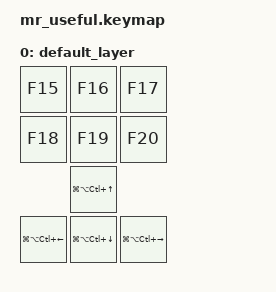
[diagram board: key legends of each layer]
#include <behaviors.dtsi>
#include <dt-bindings/zmk/keys.h>

// Hyper + Direction Aliases
#define H_U LG(LA(LC(UP)))
#define H_D LG(LA(LC(DOWN)))
#define H_L LG(LA(LC(LEFT)))
#define H_R LG(LA(LC(RIGHT)))

/ {
    keymap {
        compatible = "zmk,keymap";

        default_layer {
            bindings = <
                &kp F15   &kp F16   &kp F17
                &kp F18   &kp F19   &kp F20
                          &kp H_U
                &kp H_L   &kp H_D   &kp H_R
            >;
        };
    };

    combos {
        compatible = "zmk,combos";
        combo_bootloader {
            timeout-ms = <50>;
            key-positions = <0 9>;
            bindings = <&bootloader>;
        };
    };
};
